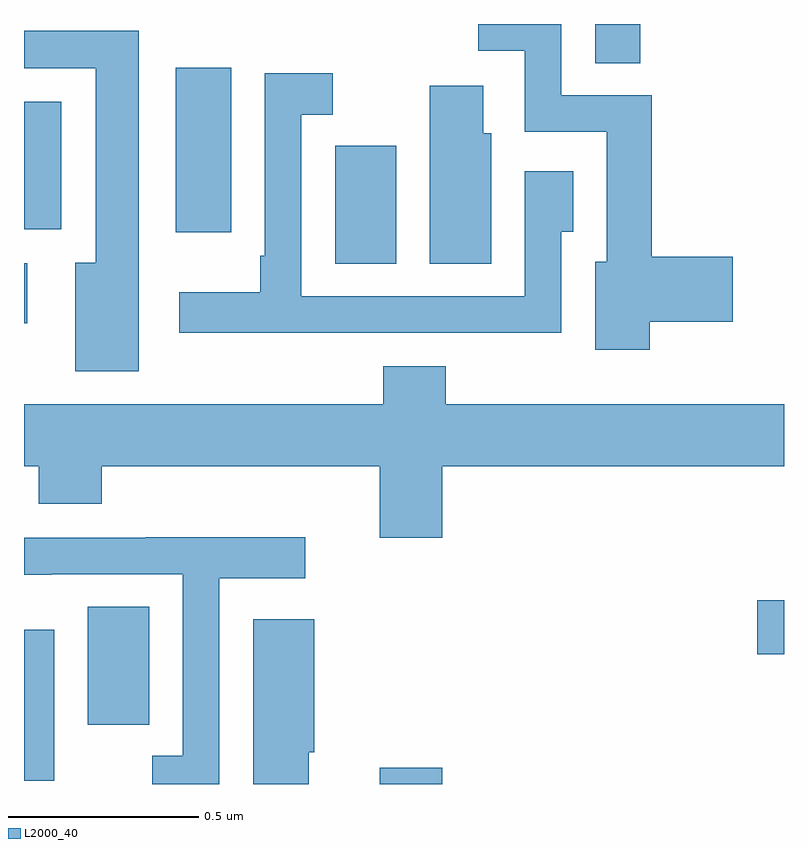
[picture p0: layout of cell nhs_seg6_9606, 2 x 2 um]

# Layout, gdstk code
import gdstk
lib = gdstk.Library(unit=1e-6, precision=1e-09)
def R(c, l, rs):  # rectangles x0, y0, x1, y1
    for r in rs: c.add(gdstk.rectangle(r[:2], r[2:], *l))
def P(c, l, *ps):  # polygons
    for p in ps: c.add(gdstk.Polygon(p, *l))
L2000_40 = (2000, 40)

nhs_seg6_9606 = lib.new_cell('nhs_seg6_9606')
R(nhs_seg6_9606, L2000_40, [(236.936,946.5,237.1,946.543), (236,946.508,236.08,946.906), (236.168,946.656,236.329,946.967), (237.93,946.841,238,946.983), (236,947.712,236.008,947.871), (236.819,947.869,236.98,948.18), (236.399,947.952,236.545,948.385), (236,947.96,236.098,948.295), (237.503,948.397,237.622,948.5)])
P(nhs_seg6_9606, L2000_40, [(237.647,947.717),(237.865,947.717),(237.865,947.888),(237.652,947.888),(237.652,948.312),(237.414,948.312),(237.414,948.5),(237.195,948.5),(237.195,948.429),(237.318,948.429),(237.318,948.216),(237.533,948.216),(237.533,947.875),(237.503,947.875),(237.503,947.643),(237.647,947.643)],
  [(236.302,948.482),(236,948.482),(236,948.384),(236.189,948.384),(236.189,947.872),(236.135,947.872),(236.135,947.586),(236.302,947.586)],
  [(236.827,947.688),(237.193,947.688),(237.193,947.687),(237.414,947.687),(237.414,947.953),(237.445,947.953),(237.445,948.112),(237.318,948.112),(237.318,947.784),(236.73,947.784),(236.73,948.261),(236.812,948.261),(236.812,948.37),(236.634,948.37),(236.634,947.89),(236.622,947.89),(236.622,947.794),(236.409,947.794),(236.409,947.687),(236.827,947.687)],
  [(237.229,948.213),(237.208,948.213),(237.208,948.337),(237.068,948.337),(237.068,947.869),(237.229,947.869)],
  [(237.1,947.336),(238,947.336),(238,947.5),(237.11,947.5),(237.11,947.599),(236.945,947.599),(236.945,947.5),(236,947.5),(236,947.336),(236.039,947.336),(236.039,947.237),(236.204,947.237),(236.204,947.336),(236.936,947.336),(236.936,947.148),(237.1,947.148)],
  [(236.514,947.042),(236.74,947.042),(236.74,947.15),(236.321,947.15),(236.321,947.148),(236,947.148),(236,947.051),(236.072,947.051),(236.072,947.052),(236.418,947.052),(236.418,946.575),(236.337,946.575),(236.337,946.5),(236.514,946.5)],
  [(236.749,946.584),(236.764,946.584),(236.764,946.933),(236.603,946.933),(236.603,946.5),(236.749,946.5)])

lib.write_gds('nhs_seg6_9606.gds')
